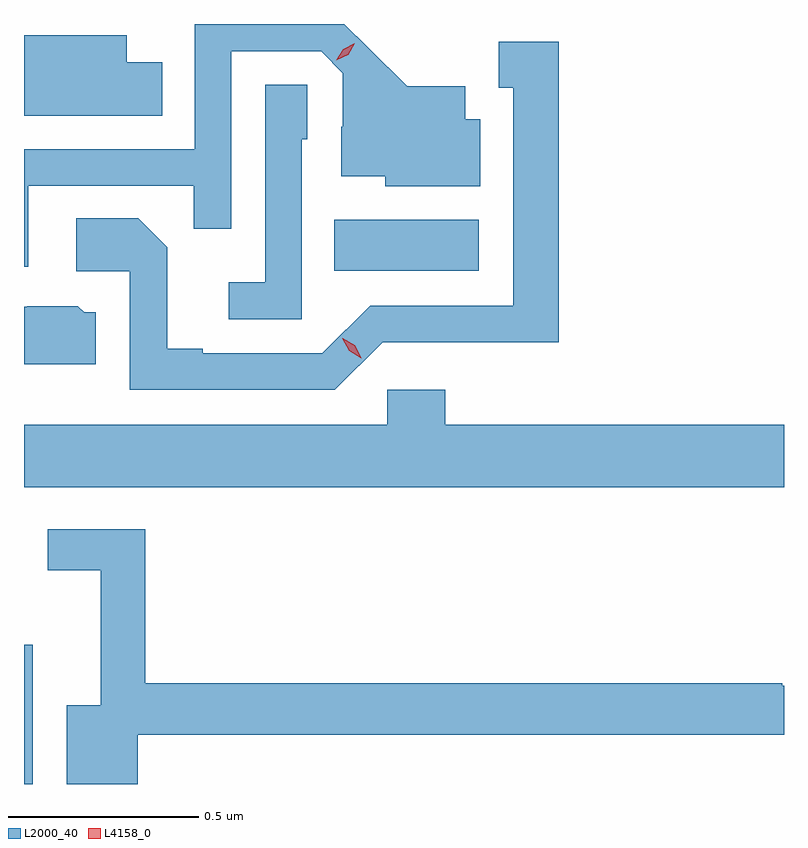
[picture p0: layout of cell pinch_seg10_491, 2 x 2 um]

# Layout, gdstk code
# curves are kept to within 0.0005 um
import gdstk
lib = gdstk.Library(unit=1e-6, precision=1e-09)
def R(c, l, rs):  # rectangles x0, y0, x1, y1
    for r in rs: c.add(gdstk.rectangle(r[:2], r[2:], *l))
def P(c, l, *ps):  # polygons
    for p in ps: c.add(gdstk.Polygon(p, *l))
L2000_40 = (2000, 40)
L4158_0 = (4158, 0)

pinch_seg10_491 = lib.new_cell('pinch_seg10_491')
R(pinch_seg10_491, L2000_40, [(330.58,1311.523,330.603,1311.889), (331.396,1312.874,331.777,1313.008)])
P(pinch_seg10_491, L2000_40, [(330.591,1313.097),(331.027,1313.097),(331.027,1312.984),(331.125,1312.984),(331.125,1313.451),(331.362,1313.451),(331.419,1313.394),(331.419,1313.252),(331.415,1313.252),(331.415,1313.123),(331.53,1313.123),(331.53,1313.096),(331.78,1313.096),(331.78,1313.272),(331.741,1313.272),(331.741,1313.359),(331.589,1313.359),(331.423,1313.523),(331.029,1313.523),(331.029,1313.193),(330.58,1313.193),(330.58,1312.884),(330.591,1312.884)],
  [(330.944,1313.422),(330.85,1313.422),(330.85,1313.494),(330.58,1313.494),(330.58,1313.282),(330.944,1313.282)],
  [(331.524,1312.686),(331.746,1312.686),(331.746,1312.685),(331.987,1312.685),(331.987,1313.476),(331.829,1313.476),(331.829,1313.355),(331.868,1313.355),(331.868,1312.782),(331.491,1312.782),(331.365,1312.656),(331.051,1312.656),(331.051,1312.669),(330.957,1312.669),(330.957,1312.936),(330.881,1313.012),(330.717,1313.012),(330.717,1312.872),(330.858,1312.872),(330.858,1312.56),(331.398,1312.56)],
  [(331.311,1313.22),(331.326,1313.22),(331.326,1313.363),(331.215,1313.363),(331.215,1312.843),(331.119,1312.843),(331.119,1312.746),(331.311,1312.746)],
  [(330.769,1312.764),(330.738,1312.764),(330.722,1312.78),(330.588,1312.78),(330.588,1312.779),(330.58,1312.779),(330.58,1312.628),(330.769,1312.628)],
  [(332.58,1312.468),(331.688,1312.468),(331.688,1312.561),(331.536,1312.561),(331.536,1312.468),(330.58,1312.468),(330.58,1312.304),(332.58,1312.304)],
  [(330.879,1311.652),(332.58,1311.652),(332.58,1311.781),(332.576,1311.781),(332.576,1311.788),(330.899,1311.788),(330.899,1312.194),(330.642,1312.194),(330.642,1312.086),(330.782,1312.086),(330.782,1311.73),(330.692,1311.73),(330.692,1311.523),(330.879,1311.523)])
P(pinch_seg10_491, L4158_0, [(331.468,1312.644),(331.436,1312.663),(331.418,1312.696),(331.418,1312.696),(331.419,1312.696),(331.45,1312.677),(331.468,1312.645),(331.468,1312.644)],
  [(331.402,1313.427),(331.402,1313.428),(331.42,1313.457),(331.45,1313.472),(331.451,1313.472),(331.451,1313.472),(331.433,1313.442),(331.402,1313.427)])

lib.write_gds('pinch_seg10_491.gds')
